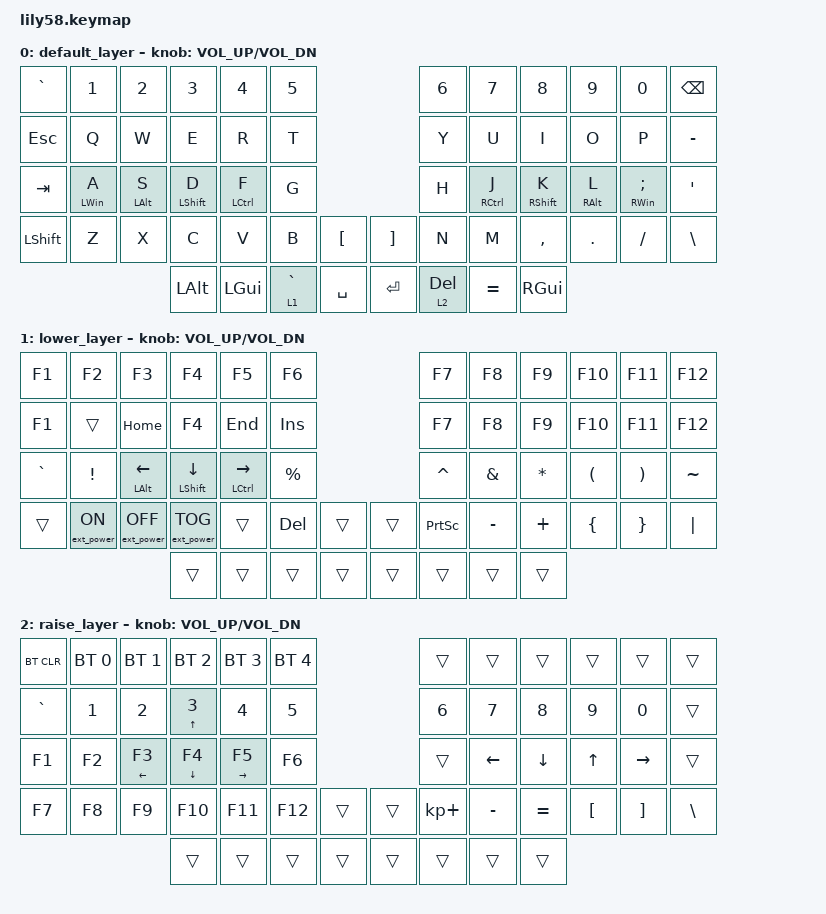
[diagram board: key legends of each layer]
/*
 * Copyright (c) 2020 The ZMK Contributors
 *
 * SPDX-License-Identifier: MIT
 */

#include <behaviors.dtsi>
#include <dt-bindings/zmk/bt.h>
#include <dt-bindings/zmk/ext_power.h>
#include <dt-bindings/zmk/keys.h>

/ {
    combos {
        compatible = "zmk,combos";

        combo_esc {
            timeout-ms = <50>;
            key-positions = <0 1>;
            bindings = <&kp ESC>;
        };
    };

    behaviors {
        ss_hs_modmorph: ss_hs_modmorph {
            compatible = "zmk,behavior-mod-morph";
            label = "SS_HS_MODMORPH";
            bindings = <&kp M>, <&kp RIGHT_BRACKET>;

            #binding-cells = <0>;
            mods = <(MOD_LSFT|MOD_RSFT)>;
        };

        kh_hs_tapdance: kh_hs_tapdance {
            compatible = "zmk,behavior-tap-dance";
            label = "KH_HS_TAPDANCE";
            #binding-cells = <0>;
            tapping-term-ms = <200>;
            bindings = <&kp LEFT_BRACKET>, <&kp RIGHT_BRACKET>;
        };

        hrm: hrm {
            compatible = "zmk,behavior-hold-tap";
            #binding-cells = <2>;
            flavor = "tap-preferred";
            tapping-term-ms = <200>;
            quick-tap-ms = <200>;
            require-prior-idle-ms = <125>;
            bindings = <&kp>, <&kp>;
        };

        left: left {
            compatible = "zmk,behavior-hold-tap";
            label = "LEFT";
            #binding-cells = <2>;
            hold-trigger-key-positions = <28 27 0 12 24 36 52 53 0 1 2 3 4 5 12 13 14 15 16 17 24 25 26 27 28 29 36 37 38 39 40 41 42 50 51 52 53>;
            flavor = "balanced";
            tapping-term-ms = <280>;
            quick-tap-ms = <175>;
            require-prior-idle-ms = <150>;
            bindings = <&kp>, <&kp>;

            hold-trigger-on-release;
        };

        right: right {
            compatible = "zmk,behavior-hold-tap";
            label = "RIGHT";
            #binding-cells = <2>;
            flavor = "balanced";
            tapping-term-ms = <280>;
            quick-tap-ms = <175>;
            require-prior-idle-ms = <150>;
            bindings = <&kp>, <&kp>;

            hold-trigger-on-release;
            hold-trigger-key-positions = <6 7 8 9 10 11 18 19 20 21 22 23 30 31 32 33 34 35 43 44 45 46 47 48 49 54 55 56 57>;
        };
    };

    keymap {
        compatible = "zmk,keymap";

        default_layer {
            // ------------------------------------------------------------------------------------------------------------
            // |  ESC  |  1  |  2  |  3   |  4   |  5   |                   |  6   |  7    |  8    |  9   |   0   |   `   |
            // |  TAB  |  Q  |  W  |  E   |  R   |  T   |                   |  Y   |  U    |  I    |  O   |   P   |   -   |
            // |  CTRL |  A  |  S  |  D   |  F   |  G   |                   |  H   |  J    |  K    |  L   |   ;   |   '   |
            // | SHIFT |  Z  |  X  |  C   |  V   |  B   |   "["  |  |  "]"  |  N   |  M    |  ,    |  .   |   /   | SHIFT |
            //                     | ALT  | GUI  | LOWER|  SPACE |  | ENTER | RAISE| BSPC  | GUI   |

            bindings = <
&kp GRAVE   &kp N1            &kp N2            &kp N3         &kp N4         &kp N5                              &kp N6        &kp N7          &kp N8                &kp N9              &kp N0                 &kp BACKSPACE
&kp ESCAPE  &kp Q             &kp W             &kp E          &kp R          &kp T                               &kp Y         &kp U           &kp I                 &kp O               &kp P                  &kp MINUS
&kp TAB     &left LEFT_WIN A  &left LEFT_ALT S  &left LSHFT D  &left LCTRL F  &kp G                               &kp H         &right RCTRL J  &right RIGHT_SHIFT K  &right RIGHT_ALT L  &right RIGHT_WIN SEMI  &kp SQT
&kp LSHFT   &kp Z             &kp X             &kp C          &kp V          &kp B        &kp LBKT     &kp RBKT  &kp N         &kp M           &kp COMMA             &kp DOT             &kp FSLH               &kp BACKSLASH
                                                &kp LALT       &kp LGUI       &lt 1 GRAVE  &kp SPACE    &kp RET   &lt 2 DELETE  &kp EQUAL       &kp RGUI
            >;

            sensor-bindings = <&inc_dec_kp C_VOL_UP C_VOL_DN>;
        };

        lower_layer {
            // ------------------------------------------------------------------------------------------------------------
            // | BTCLR | BT1 | BT2 |  BT3 |  BT4 |  BT5 |                   |      |       |       |      |       |       |
            // |  F1   |  F2 |  F3 |  F4  |  F5  |  F6  |                   |  F7  |  F8   |  F9   |  F10 |  F11  |  F12  |
            // |   `   |  !  |  @  |  #   |  $   |  %   |                   |  ^   |  &    |  *    |  (   |   )   |   ~   |
            // |       |     |     |      |      |      |        |  |       |      |  _    |  +    |  {   |   }   |  "|"  |
            //                     |      |      |      |        |  |       |      |       |       |

            bindings = <
&kp F1     &kp F2            &kp F3                     &kp F4                 &kp F5             &kp F6                        &kp F7           &kp F8     &kp F9     &kp F10   &kp F11   &kp F12
&kp F1     &trans            &kp HOME                   &kp F4                 &kp END            &kp INSERT                    &kp F7           &kp F8     &kp F9     &kp F10   &kp F11   &kp F12
&kp GRAVE  &kp EXCL          &left LEFT_ALT LEFT_ARROW  &left LEFT_SHIFT DOWN  &left LCTRL RIGHT  &kp PRCNT                     &kp CARET        &kp AMPS   &kp ASTRK  &kp LPAR  &kp RPAR  &kp TILDE
&trans     &ext_power EP_ON  &ext_power EP_OFF          &ext_power EP_TOG      &trans             &kp DELETE  &trans    &trans  &kp PRINTSCREEN  &kp MINUS  &kp PLUS   &kp LBRC  &kp RBRC  &kp PIPE
                                                        &trans                 &trans             &trans      &trans    &trans  &trans           &trans     &trans
            >;

            sensor-bindings = <&inc_dec_kp C_VOL_UP C_VOL_DN>;
        };

        raise_layer {
            // ------------------------------------------------------------------------------------------------------------
            // |       |     |     |      |      |      |                   |      |       |       |      |       |       |
            // |   `   |  1  |  2  |  3   |  4   |  5   |                   |  6   |   7   |   8   |  9   |   0   |       |
            // |   F1  |  F2 |  F3 |  F4  |  F5  |  F6  |                   |      |   <-  |   v   |  ^   |  ->   |       |
            // |   F7  |  F8 |  F9 |  F10 |  F11 |  F12 |        |  |       |  +   |   -   |   =   |  [   |   ]   |   \   |
            //                     |      |      |      |        |  |       |      |       |       |

            bindings = <
&bt BT_CLR  &bt BT_SEL 0  &bt BT_SEL 1  &bt BT_SEL 2           &bt BT_SEL 3  &bt BT_SEL 4                    &trans       &trans     &trans     &trans    &trans     &trans
&kp GRAVE   &kp N1        &kp NUMBER_2  &mt UP_ARROW NUMBER_3  &kp N4        &kp N5                          &kp N6       &kp N7     &kp N8     &kp N9    &kp N0     &trans
&kp F1      &kp F2        &mt LEFT F3   &mt DOWN F4            &mt RIGHT F5  &kp F6                          &trans       &kp LEFT   &kp DOWN   &kp UP    &kp RIGHT  &trans
&kp F7      &kp F8        &kp F9        &kp F10                &kp F11       &kp F12       &trans    &trans  &kp KP_PLUS  &kp MINUS  &kp EQUAL  &kp LBKT  &kp RBKT   &kp BSLH
                                        &trans                 &trans        &trans        &trans    &trans  &trans       &trans     &trans
            >;

            sensor-bindings = <&inc_dec_kp C_VOL_UP C_VOL_DN>;
        };
    };
};
